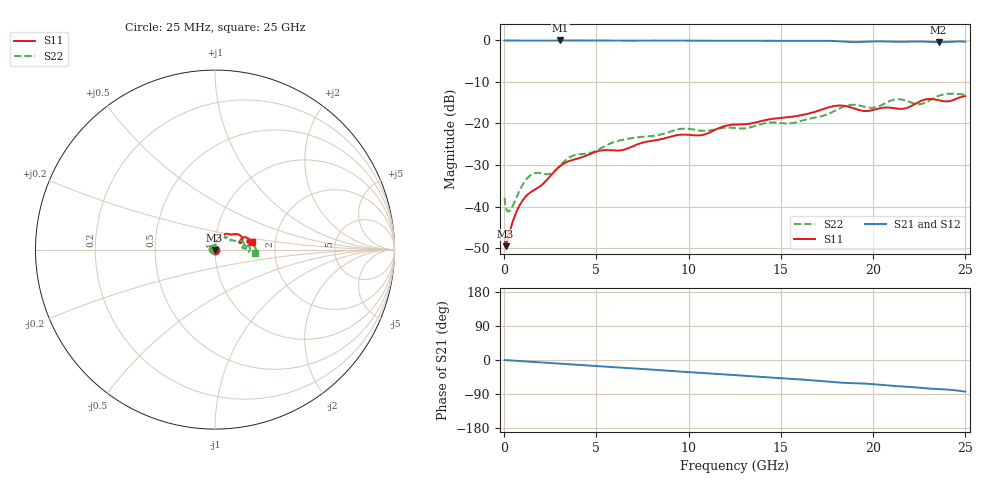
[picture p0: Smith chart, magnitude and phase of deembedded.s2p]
! RG_ts6_sw_gnd: 3D, de-embedded (matched 2x-thru)
# Hz S RI R 50
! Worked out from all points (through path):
!   1000 points, 25 MHz to 25 GHz, reference 50 ohm
!   highest |S21| = -0.04 dB at 3.05 GHz (marker M1); lowest = -0.5 dB at 23.55 GHz (marker M2)
!   group delay of S21, straight-line fit = 9.06 ps
!   lowest |S11| = -49.5 dB at 75 MHz (marker M3), VSWR 1.01, Z = 49.8 - j0.245 ohm
!   |S11| at or under -10 dB: start of sweep to end of sweep
!   |S22| runs from -41.2 to -12.8 dB; largest |S21 - S12| = 0.0058
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2.5e7  0.00016 -0.00425  0.9937 -0.00132  0.9906 -0.00108  -0.0118 0.00468
7.5e7  -0.00225 -0.00246  0.9937 -0.00402  0.9907 -0.00332  -0.00947 0.00377
3.25e8  -0.00472 0.00222  0.9938 -0.0176  0.9922 -0.0151  -0.00803 0.00402
6.5e8  -0.00452 0.00714  0.9938 -0.0361  0.995 -0.0333  -0.00976 0.00801
1.025e9  -0.00291 0.0117  0.992 -0.0578  0.995 -0.0578  -0.00934 0.0161
1.525e9  -0.000607 0.0153  0.9874 -0.0846  0.9875 -0.0874  -0.00201 0.0244
2.5e9  -0.00208 0.0232  0.9842 -0.133  0.9837 -0.1307  0.00397 0.0245
3.05e9  -0.000225 0.0309  0.9816 -0.1655  0.9837 -0.1654  0.00237 0.0314
4.2e9  0.0063 0.0386  0.9663 -0.2275  0.9647 -0.227  0.013 0.0408
6.25e9  0.0131 0.0454  0.9293 -0.3363  0.9282 -0.336  0.0216 0.0584
8.35e9  0.0174 0.061  0.887 -0.4444  0.8862 -0.444  0.0308 0.0654
9.625e9  0.0262 0.0685  0.8509 -0.506  0.8512 -0.5067  0.0435 0.0744
1.0725e10  0.0258 0.0677  0.8172 -0.5554  0.8171 -0.5548  0.0478 0.066
1.2525e10  0.047 0.0846  0.7568 -0.633  0.7563 -0.6326  0.0592 0.0652
1.6675e10  0.1032 0.0861  0.5868 -0.7934  0.5862 -0.7928  0.1041 0.0504
1.81e10  0.1484 0.0699  0.4967 -0.8358  0.4963 -0.8367  0.1393 0.0513
1.955e10  0.1352 0.0396  0.4467 -0.8479  0.448 -0.8481  0.1582 0.00719
2.085e10  0.1492 0.0428  0.3701 -0.892  0.3692 -0.8906  0.1826 0.0219
2.17e10  0.1423 0.0504  0.3294 -0.9018  0.3313 -0.9027  0.1902 -0.00974
2.255e10  0.1717 0.0681  0.2752 -0.926  0.2725 -0.9263  0.1705 0.00585
2.355e10  0.1859 0.039  0.2163 -0.9216  0.2198 -0.921  0.2135 0.0225
2.5e10  0.2089 0.041  0.1071 -0.955  0.1045 -0.9498  0.2211 -0.0189
